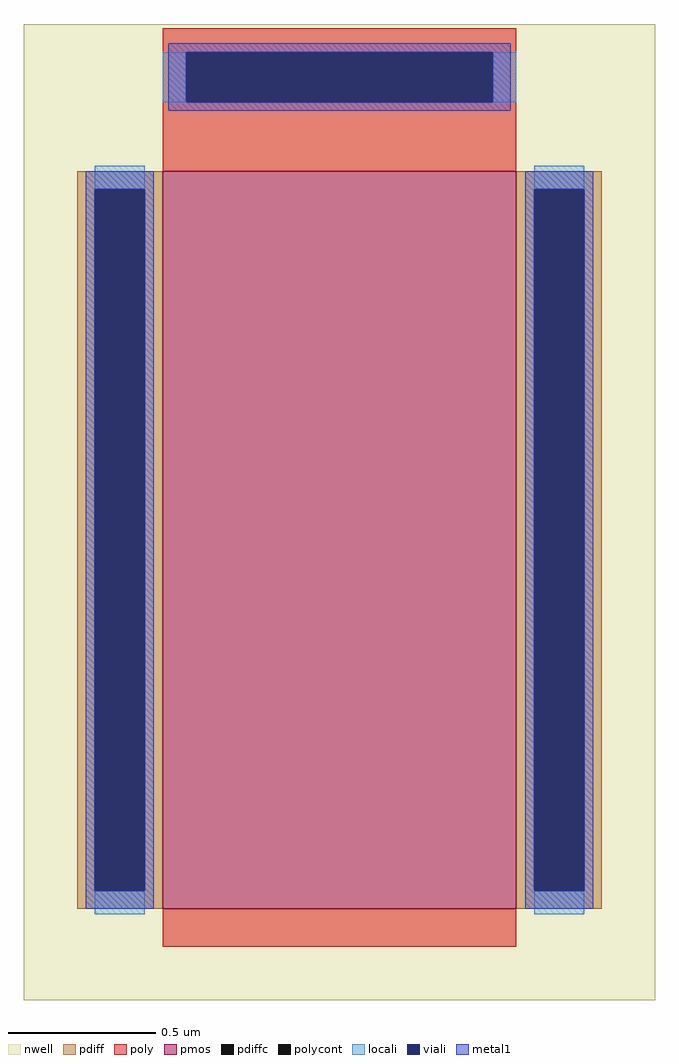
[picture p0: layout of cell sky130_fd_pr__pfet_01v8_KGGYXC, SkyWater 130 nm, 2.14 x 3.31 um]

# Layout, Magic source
magic
tech sky130A
magscale 1 2
<< nwell >>
rect -214 -348 214 314
<< pmos >>
rect -120 -286 120 214
<< pdiff >>
rect -178 202 -120 214
rect -178 -274 -166 202
rect -132 -274 -120 202
rect -178 -286 -120 -274
rect 120 202 178 214
rect 120 -274 132 202
rect 166 -274 178 202
rect 120 -286 178 -274
<< pdiffc >>
rect -166 -274 -132 202
rect 132 -274 166 202
<< poly >>
rect -120 295 120 311
rect -120 261 -104 295
rect 104 261 120 295
rect -120 214 120 261
rect -120 -312 120 -286
<< polycont >>
rect -104 261 104 295
<< locali >>
rect -120 261 -104 295
rect 104 261 120 295
rect -166 202 -132 218
rect -166 -290 -132 -274
rect 132 202 166 218
rect 132 -290 166 -274
<< viali >>
rect -104 261 104 295
rect -166 -274 -132 202
rect 132 -274 166 202
<< metal1 >>
rect -116 295 116 301
rect -116 261 -104 295
rect 104 261 116 295
rect -116 255 116 261
rect -172 202 -126 214
rect -172 -274 -166 202
rect -132 -274 -126 202
rect -172 -286 -126 -274
rect 126 202 172 214
rect 126 -274 132 202
rect 166 -274 172 202
rect 126 -286 172 -274
<< properties >>
string gencell sky130_fd_pr__pfet_01v8
string library sky130
string parameters w 2.5 l 1.2 m 1 nf 1 diffcov 100 polycov 100 guard 0 glc 1 grc 1 gtc 1 gbc 1 tbcov 100 rlcov 100 topc 1 botc 0 poverlap 0 doverlap 1 lmin 0.15 wmin 0.42 compatible {sky130_fd_pr__pfet_01v8  sky130_fd_pr__pfet_01v8_lvt sky130_fd_pr__pfet_01v8_hvt  sky130_fd_pr__pfet_g5v0d10v5} full_metal 1 viasrc 100 viadrn 100 viagate 100 viagb 0 viagr 0 viagl 0 viagt 0
<< end >>
